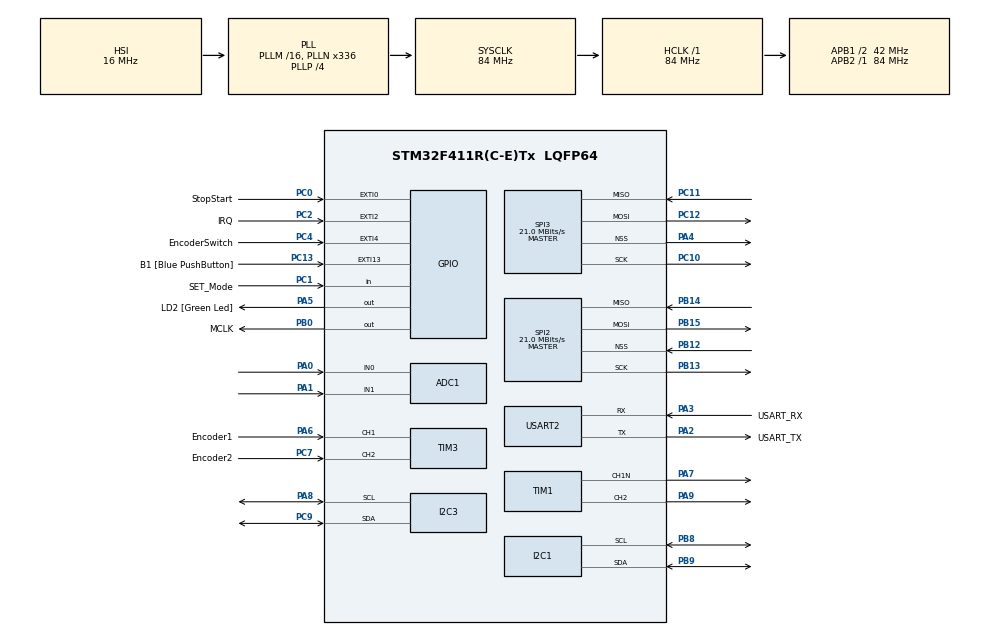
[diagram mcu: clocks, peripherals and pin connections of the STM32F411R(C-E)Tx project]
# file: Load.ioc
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ADC1.Channel-3\#ChannelRegularConversion=ADC_CHANNEL_0
ADC1.NbrOfConversionFlag=1
ADC1.Rank-3\#ChannelRegularConversion=1
ADC1.SamplingTime-3\#ChannelRegularConversion=ADC_SAMPLETIME_3CYCLES
ADC1.master=1
Dma.I2C1_TX.0.Direction=DMA_MEMORY_TO_PERIPH
Dma.I2C1_TX.0.FIFOMode=DMA_FIFOMODE_DISABLE
Dma.I2C1_TX.0.Instance=DMA1_Stream1
Dma.I2C1_TX.0.MemDataAlignment=DMA_MDATAALIGN_BYTE
Dma.I2C1_TX.0.MemInc=DMA_MINC_ENABLE
Dma.I2C1_TX.0.Mode=DMA_NORMAL
Dma.I2C1_TX.0.PeriphDataAlignment=DMA_PDATAALIGN_BYTE
Dma.I2C1_TX.0.PeriphInc=DMA_PINC_DISABLE
Dma.I2C1_TX.0.Priority=DMA_PRIORITY_LOW
Dma.I2C3_TX.1.Direction=DMA_MEMORY_TO_PERIPH
Dma.I2C3_TX.1.FIFOMode=DMA_FIFOMODE_DISABLE
Dma.I2C3_TX.1.Instance=DMA1_Stream4
Dma.I2C3_TX.1.MemDataAlignment=DMA_MDATAALIGN_BYTE
Dma.I2C3_TX.1.MemInc=DMA_MINC_ENABLE
Dma.I2C3_TX.1.Mode=DMA_NORMAL
Dma.I2C3_TX.1.PeriphDataAlignment=DMA_PDATAALIGN_BYTE
Dma.I2C3_TX.1.PeriphInc=DMA_PINC_DISABLE
Dma.I2C3_TX.1.Priority=DMA_PRIORITY_LOW
Dma.Request0=I2C1_TX
Dma.Request1=I2C3_TX
I2C1.I2C_Mode=I2C_Fast
I2C3.I2C_Mode=I2C_Fast
Mcu.Family=STM32F4
Mcu.Name=STM32F411R(C-E)Tx
Mcu.Package=LQFP64
NVIC.DMA1_Stream1_IRQn=true\:0\:0\:false\:false\:true\:false\:true
NVIC.DMA1_Stream4_IRQn=true\:0\:0\:false\:false\:true\:false\:true
NVIC.EXTI0_IRQn=true\:0\:0\:false\:false\:true\:true\:true
NVIC.EXTI15_10_IRQn=true\:0\:0\:false\:false\:true\:true\:true
NVIC.EXTI4_IRQn=true\:0\:0\:false\:false\:true\:true\:true
NVIC.I2C1_EV_IRQn=true\:0\:1\:false\:false\:true\:true\:true
NVIC.PriorityGroup=NVIC_PRIORITYGROUP_0
PA0-WKUP.Signal=ADCx_IN0
PA1.Signal=ADCx_IN1
PA13.GPIO_Label=TMS
PA13.Mode=Serial_Wire
PA13.Signal=SYS_JTMS-SWDIO
PA14.GPIO_Label=TCK
PA14.Mode=Serial_Wire
PA14.Signal=SYS_JTCK-SWCLK
PA2.GPIO_Label=USART_TX
PA2.Mode=Asynchronous
PA2.Signal=USART2_TX
PA3.GPIO_Label=USART_RX
PA3.Mode=Asynchronous
PA3.Signal=USART2_RX
PA4.Mode=NSS_Signal_Hard_Output
PA4.Signal=SPI3_NSS
PA5.GPIO_Label=LD2 [Green Led]
PA5.Signal=GPIO_Output
PA6.GPIO_Label=Encoder1
PA6.Signal=S_TIM3_CH1
PA7.Mode=PWM Generation1 CH1N
PA7.Signal=TIM1_CH1N
PA8.GPIO_Pu=GPIO_PULLUP
PA8.Mode=I2C
PA8.Signal=I2C3_SCL
PA9.Signal=S_TIM1_CH2
PB0.GPIO_Label=MCLK
PB0.Signal=GPIO_Output
PB12.Mode=NSS_Signal_Hard_Input
PB12.Signal=SPI2_NSS
PB13.Mode=Full_Duplex_Master
PB13.Signal=SPI2_SCK
PB14.Mode=Full_Duplex_Master
PB14.Signal=SPI2_MISO
PB15.Mode=Full_Duplex_Master
PB15.Signal=SPI2_MOSI
PB3.GPIO_Label=SWO
PB3.Signal=SYS_JTDO-SWO
PB8.GPIO_Speed=GPIO_SPEED_FREQ_VERY_HIGH
PB8.Mode=I2C
PB8.Signal=I2C1_SCL
PB9.GPIO_Speed=GPIO_SPEED_FREQ_VERY_HIGH
PB9.Mode=I2C
PB9.Signal=I2C1_SDA
PC0.GPIO_Label=StopStart
PC0.GPIO_PuPd=GPIO_PULLDOWN
PC0.Signal=GPXTI0
PC1.GPIO_Label=SET_Mode
PC1.GPIO_PuPd=GPIO_PULLDOWN
PC1.Signal=GPIO_Input
PC10.Mode=Full_Duplex_Master
PC10.Signal=SPI3_SCK
PC11.Mode=Full_Duplex_Master
PC11.Signal=SPI3_MISO
PC12.Mode=Full_Duplex_Master
PC12.Signal=SPI3_MOSI
PC13-ANTI_TAMP.GPIO_Label=B1 [Blue PushButton]
PC13-ANTI_TAMP.GPIO_ModeDefaultEXTI=GPIO_MODE_IT_FALLING
PC13-ANTI_TAMP.GPIO_PuPd=GPIO_PULLUP
PC13-ANTI_TAMP.Signal=GPXTI13
PC14-OSC32_IN.Mode=LSE-External-Oscillator
PC14-OSC32_IN.Signal=RCC_OSC32_IN
PC15-OSC32_OUT.Mode=LSE-External-Oscillator
PC15-OSC32_OUT.Signal=RCC_OSC32_OUT
PC2.GPIO_Label=IRQ
PC2.Signal=GPXTI2
PC4.GPIO_Label=EncoderSwitch
PC4.Signal=GPXTI4
PC7.GPIO_Label=Encoder2
PC7.Signal=S_TIM3_CH2
PC9.GPIO_Pu=GPIO_PULLUP
PC9.Mode=I2C
PC9.Signal=I2C3_SDA
PH0\ -\ OSC_IN.Mode=HSE-External-Clock-Source
PH0\ -\ OSC_IN.Signal=RCC_OSC_IN
PH1\ -\ OSC_OUT.Mode=HSE-External-Clock-Source
PH1\ -\ OSC_OUT.Signal=RCC_OSC_OUT
ProjectManager.HeapSize=0x200
ProjectManager.StackSize=0x400
ProjectManager.TargetToolchain=STM32CubeIDE
RCC.48MHZClocksFreq_Value=84000000
RCC.AHBFreq_Value=84000000
RCC.APB1CLKDivider=RCC_HCLK_DIV2
RCC.APB1Freq_Value=42000000
RCC.APB1TimFreq_Value=84000000
RCC.APB2Freq_Value=84000000
RCC.APB2TimFreq_Value=84000000
RCC.CortexFreq_Value=84000000
RCC.FLatency-AdvancedSettings=FLASH_LATENCY_2
RCC.HCLKFreq_Value=84000000
RCC.HSE_VALUE=8000000
RCC.HSI_VALUE=16000000
RCC.PLLN=336
RCC.PLLP=RCC_PLLP_DIV4
RCC.SYSCLKFreq_VALUE=84000000
RCC.SYSCLKSource=RCC_SYSCLKSOURCE_PLLCLK
RCC.VCOOutputFreq_Value=336000000
SH.ADCx_IN0.0=ADC1_IN0,IN0
SH.ADCx_IN1.0=ADC1_IN1,IN1
SH.S_TIM1_CH2.0=TIM1_CH2,PWM Generation2 CH2
SH.S_TIM3_CH1.0=TIM3_CH1,Encoder_Interface
SH.S_TIM3_CH2.0=TIM3_CH2,Encoder_Interface
SPI2.CalculateBaudRate=21.0 MBits/s
SPI2.Direction=SPI_DIRECTION_2LINES
SPI2.Mode=SPI_MODE_MASTER
SPI2.VirtualNSS=VM_NSSHARD
SPI2.VirtualType=VM_MASTER
SPI3.CalculateBaudRate=21.0 MBits/s
SPI3.Direction=SPI_DIRECTION_2LINES
SPI3.Mode=SPI_MODE_MASTER
SPI3.VirtualNSS=VM_NSSHARD
SPI3.VirtualType=VM_MASTER
TIM1.Channel-PWM\ Generation1\ CH1N=TIM_CHANNEL_1
TIM1.Channel-PWM\ Generation2\ CH2=TIM_CHANNEL_2
TIM3.EncoderMode=TIM_ENCODERMODE_TI2
TIM3.IC1Filter=15
TIM3.IC2Filter=15
USART2.VirtualMode=VM_ASYNC
board=NUCLEO-F411RE

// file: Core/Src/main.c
/* USER CODE BEGIN Header */
/**
  ******************************************************************************
  * @file           : main.c
  * @brief          : Main program body
  ******************************************************************************
  * @attention
  *
  * <h2><center>&copy; Copyright (c) 2024 STMicroelectronics.
  * All rights reserved.</center></h2>
  *
  * This software component is licensed by ST under BSD 3-Clause license,
  * the "License"; You may not use this file except in compliance with the
  * License. You may obtain a copy of the License at:
  *                        opensource.org/licenses/BSD-3-Clause
  *
  ******************************************************************************
  */
/* USER CODE END Header */
#include "main.h"
#include "adc.h"
#include "dma.h"
#include "i2c.h"
#include "spi.h"
#include "tim.h"
#include "usart.h"
#include "gpio.h"

/* USER CODE BEGIN Includes */
#include "menu.h"
#include "functions.h"
#include "DAC70501.h"
/* USER CODE END Includes */

/* USER CODE BEGIN PD */
#define menuCount 3
/* USER CODE END PD */

/* USER CODE BEGIN PV */
I2C_HandleTypeDef hi2c1;
uint8_t pulses = 0;
uint8_t positions = 0;
/* USER CODE END PV */

void SystemClock_Config(void);

/* USER CODE BEGIN 0 */

// define menus
menu CCMenu;
menu CVMenu;
menu CPMenu;
menu CRMenu;
menu BatMenu;

menu menuArray[menuCount]; // there are 4 menus

uint8_t toggles = 0;
uint8_t modToggles = 0;
uint8_t encToggles = 0;
uint8_t setPosition = 0;
uint8_t changeSetToggles = 0;

uint8_t arraySize=0;
bool wasToggled = false;
bool startStop = false;
bool setMode = false;

/* USER CODE END 0 */

int main(void)
{

  /* MCU Configuration--------------------------------------------------------*/

  /* Reset of all peripherals, Initializes the Flash interface and the Systick. */
  HAL_Init();

  /* Configure the system clock */
  SystemClock_Config();

  /* Initialize all configured peripherals */
  MX_GPIO_Init();
  MX_USART2_UART_Init();
  MX_I2C1_Init();
  MX_SPI2_Init();
  MX_DMA_Init();
  MX_TIM1_Init();
  MX_TIM3_Init();
  MX_ADC1_Init();
  MX_I2C3_Init();
  MX_SPI3_Init();
  /* USER CODE BEGIN 2 */

  HAL_TIM_Encoder_Start(&htim3, TIM_CHANNEL_ALL);

  ssd1306_Init();
  ssd1306_SetCursor(8, 10);
  ssd1306_WriteString("ELECTRTONIC LOAD", Font_7x10, White);
  ssd1306_SetCursor(14, 20);
  ssd1306_WriteString("Ver. V0.0", Font_11x18, White);
  ssd1306_SetCursor(46, 38);
  ssd1306_WriteString("Author", Font_6x8, White);
  ssd1306_SetCursor(40, 46);
  ssd1306_WriteString("PZERANSK", Font_6x8, White);
  ssd1306_UpdateScreen();

  //ssd1306_Fill(Black);
  initStruct(&CCMenu, "CC Mode", "Set I:", "U in:", "Power:");
  initStruct(&CVMenu, "CV Mode", "Set U:", "Power:", "I in:");
  initStruct(&CPMenu, "CP Mode", "Set P:", "Power:", "x");
  initStruct(&CRMenu, "CR Mode", "Set R:", "Power:", "x");
  initStruct(&BatMenu, "BAT Test", "Set I:", "Set U", "Capacity");
  menuArray[0]=CCMenu;
  menuArray[1]=CPMenu;
  menuArray[2]=BatMenu;
  //menuArray[2]=CVMenu;
  //menuArray[3]=CRMenu;
  strcpy(menuArray[0].val_line1,"01000");
  strcpy( menuArray[1].val_line1,"010");
  HAL_Delay(2000);
  //displayMenu(&CCMenu);

  /* USER CODE END 2 */

  /* Infinite loop */
  /* USER CODE BEGIN WHILE */

  while (1)
  {
    ssd1306_Fill(Black);

    checkLongPress(GPIOC, SET_Mode_Pin, &setMode, &changeSetToggles);

	modToggles = toggles%menuCount;
	menuArray[modToggles].status = startStop;
	pulses = TIM3->CNT;
	positions = pulses/2;
	if(setMode){
		if(strncmp(menuArray[modToggles].measVal1,"Set x:",4)==0){

			if(changeSetToggles%2==0){

				arraySize = sizeof(menuArray[modToggles].val_line1)/sizeof(*menuArray[modToggles].val_line1);
				setPosition = encToggles%(arraySize);
				ssd1306_Line(42+7*setPosition, 28, 42+7*setPosition+7, 28, White);
				menuArray[modToggles].val_line1[setPosition] = positions%10+'0';

			}else if(changeSetToggles%2==1){

			    arraySize = sizeof(menuArray[modToggles].val_line2)/sizeof(*menuArray[modToggles].val_line2);
				setPosition = encToggles%(arraySize);
				ssd1306_Line(42+7*setPosition, 38, 42+7*setPosition+7, 38, White);
				menuArray[modToggles].val_line2[setPosition] = positions%10+'0';

			}
		}else{
		    arraySize = sizeof(menuArray[modToggles].val_line1)/sizeof(*menuArray[modToggles].val_line1);
			setPosition = encToggles%(arraySize);
			ssd1306_Line(42+7*setPosition, 28, 42+7*setPosition+7, 28, White);
			menuArray[modToggles].val_line1[setPosition] = positions%10+'0';
		}

	}

	if(strcmp(menuArray[modToggles].menuName, CCMenu.menuName) == 0 && ChangeArrayToInt(menuArray[modToggles].val_line1, arraySize)>10000){
		strcpy(menuArray[modToggles].val_line1,"10000");
	}else if(strcmp(menuArray[modToggles].menuName, CPMenu.menuName) == 0 && ChangeArrayToInt(menuArray[modToggles].val_line1, arraySize)>200){
		strcpy(menuArray[modToggles].val_line1,"200");
	}

	displayMenu(&menuArray[modToggles]);

	//HAL_GPIO_WritePin(GPIOA, GPIO_PIN_5, 0);
	//HAL_Delay(200);
	//HAL_GPIO_WritePin(GPIOA, GPIO_PIN_5, 1);
	//HAL_Delay(200);

    /* USER CODE END WHILE */

  }
}

void SystemClock_Config(void)
{
  RCC_OscInitTypeDef RCC_OscInitStruct = {0};
  RCC_ClkInitTypeDef RCC_ClkInitStruct = {0};

  /** Configure the main internal regulator output voltage
  */
  __HAL_RCC_PWR_CLK_ENABLE();
  __HAL_PWR_VOLTAGESCALING_CONFIG(PWR_REGULATOR_VOLTAGE_SCALE1);
  /** Initializes the RCC Oscillators according to the specified parameters
  * in the RCC_OscInitTypeDef structure.
  */
  RCC_OscInitStruct.OscillatorType = RCC_OSCILLATORTYPE_HSI;
  RCC_OscInitStruct.HSIState = RCC_HSI_ON;
  RCC_OscInitStruct.HSICalibrationValue = RCC_HSICALIBRATION_DEFAULT;
  RCC_OscInitStruct.PLL.PLLState = RCC_PLL_ON;
  RCC_OscInitStruct.PLL.PLLSource = RCC_PLLSOURCE_HSI;
  RCC_OscInitStruct.PLL.PLLM = 16;
  RCC_OscInitStruct.PLL.PLLN = 336;
  RCC_OscInitStruct.PLL.PLLP = RCC_PLLP_DIV4;
  RCC_OscInitStruct.PLL.PLLQ = 4;
  if (HAL_RCC_OscConfig(&RCC_OscInitStruct) != HAL_OK)
  {
    Error_Handler();
  }
  /** Initializes the CPU, AHB and APB buses clocks
  */
  RCC_ClkInitStruct.ClockType = RCC_CLOCKTYPE_HCLK|RCC_CLOCKTYPE_SYSCLK
                              |RCC_CLOCKTYPE_PCLK1|RCC_CLOCKTYPE_PCLK2;
  RCC_ClkInitStruct.SYSCLKSource = RCC_SYSCLKSOURCE_PLLCLK;
  RCC_ClkInitStruct.AHBCLKDivider = RCC_SYSCLK_DIV1;
  RCC_ClkInitStruct.APB1CLKDivider = RCC_HCLK_DIV2;
  RCC_ClkInitStruct.APB2CLKDivider = RCC_HCLK_DIV1;

  if (HAL_RCC_ClockConfig(&RCC_ClkInitStruct, FLASH_LATENCY_2) != HAL_OK)
  {
    Error_Handler();
  }
}

/* USER CODE BEGIN 4 */
void HAL_GPIO_EXTI_Callback(uint16_t GPIO_Pin){
	if(GPIO_Pin == B1_Pin && !(startStop || setMode)){
		toggles++;
	}

	if(GPIO_Pin == StopStart_Pin){
		startStop = !startStop;
	}

	//if(GPIO_Pin == SET_Mode_Pin){
	//	setMode = !setMode;
	//}

	if(GPIO_Pin == EncoderSwitch_Pin && setMode){
		encToggles++;
		TIM3->CNT = 0;
	}
}
/* USER CODE END 4 */

void Error_Handler(void)
{
  __disable_irq();
  while (1)
  {
  }
}

/************************ (C) COPYRIGHT STMicroelectronics *****END OF FILE****/
